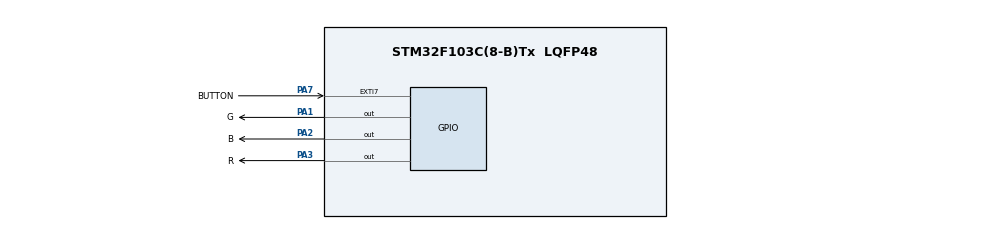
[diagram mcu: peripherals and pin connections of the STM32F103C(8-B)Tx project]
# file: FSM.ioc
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Mcu.Family=STM32F1
Mcu.Name=STM32F103C(8-B)Tx
Mcu.Package=LQFP48
NVIC.EXTI9_5_IRQn=true\:1\:0\:true\:false\:true\:true\:true
NVIC.PriorityGroup=NVIC_PRIORITYGROUP_4
PA1.GPIO_Label=G
PA1.GPIO_PuPd=GPIO_PULLDOWN
PA1.Signal=GPIO_Output
PA13.Mode=Serial_Wire
PA13.Signal=SYS_JTMS-SWDIO
PA14.Mode=Serial_Wire
PA14.Signal=SYS_JTCK-SWCLK
PA2.GPIO_Label=B
PA2.GPIO_PuPd=GPIO_PULLDOWN
PA2.Signal=GPIO_Output
PA3.GPIO_Label=R
PA3.GPIO_PuPd=GPIO_PULLDOWN
PA3.Signal=GPIO_Output
PA7.GPIO_Label=BUTTON
PA7.GPIO_ModeDefaultEXTI=GPIO_MODE_IT_FALLING
PA7.GPIO_PuPd=GPIO_PULLUP
PA7.Signal=GPXTI7
ProjectManager.HeapSize=0x200
ProjectManager.StackSize=0x400
ProjectManager.TargetToolchain=STM32CubeIDE
RCC.APB1Freq_Value=8000000
RCC.APB2Freq_Value=8000000
board=custom

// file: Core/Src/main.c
/* USER CODE BEGIN Header */
/**
  ******************************************************************************
  * @file           : main.c
  * @brief          : Main program body
  ******************************************************************************
  * @attention
  *
  * <h2><center>&copy; Copyright (c) 2023 STMicroelectronics.
  * All rights reserved.</center></h2>
  *
  * This software component is licensed by ST under BSD 3-Clause license,
  * the "License"; You may not use this file except in compliance with the
  * License. You may obtain a copy of the License at:
  *                        opensource.org/licenses/BSD-3-Clause
  *
  ******************************************************************************
  */
/* USER CODE END Header */
#include "main.h"

/* USER CODE BEGIN PTD */
#define R_ON HAL_GPIO_WritePin(R_GPIO_Port, R_Pin, 1)
#define G_ON HAL_GPIO_WritePin(G_GPIO_Port, G_Pin, 1)
#define B_ON HAL_GPIO_WritePin(B_GPIO_Port, B_Pin, 1)
#define R_OFF HAL_GPIO_WritePin(R_GPIO_Port, R_Pin, 0)
#define G_OFF HAL_GPIO_WritePin(G_GPIO_Port, G_Pin, 0)
#define B_OFF HAL_GPIO_WritePin(B_GPIO_Port, B_Pin, 0)
#define BUTTON_STATE HAL_GPIO_ReadPin(BUTTON_GPIO_Port, BUTTON_Pin)
#define DEBOUNCE_TIME 50
#define PRESS 0
#define RELEASE 1
typedef enum
{
	IDLE = 0,
	WAIT_BUTTON_UP,
	WAIT_PRESS_TIMEOUT,
	WAIT_CLICK_TIMEOUT,
	WAIT_HOLD_TIMEOUT
} my_state_t;

my_state_t state = IDLE;
/* USER CODE END PTD */

/* USER CODE BEGIN PV */
uint8_t id_state_LED = 0;
uint8_t button_interrupt = 0;
uint8_t Mode_State = 0;\
uint32_t t_timeout = 0;
uint8_t BT;
/* USER CODE END PV */

void SystemClock_Config(void);
static void MX_GPIO_Init(void);

/* USER CODE BEGIN 0 */
void state_test_ON()
{
	R_ON;
	G_ON;
	B_ON;
}

void state_test_OFF()
{
	R_OFF;
	G_OFF;
	B_OFF;
}

void state_run(uint8_t id_state)
{
	switch (id_state)
	{
		case 1:
			R_ON;
			G_OFF;
			B_OFF;
			break;

		case 2:
			G_ON;
			R_OFF;
			B_OFF;
			break;

		case 3:
			B_ON;
			R_OFF;
			G_OFF;
			break;

		default:
			R_OFF;
			G_OFF;
			B_OFF;
			break;
	}
}
/* USER CODE END 0 */

int main(void)
{

  /* MCU Configuration--------------------------------------------------------*/

  /* Reset of all peripherals, Initializes the Flash interface and the Systick. */
  HAL_Init();

  /* Configure the system clock */
  SystemClock_Config();

  /* Initialize all configured peripherals */
  MX_GPIO_Init();
  /* USER CODE BEGIN 2 */
  HAL_InitTick(TICK_INT_PRIORITY); // Reset HAL_GetTick() to 0
  /* USER CODE END 2 */

  /* Infinite loop */
  while (1)
  {
    switch (state)
    {
      case IDLE:
        if (button_interrupt == 1 && BUTTON_STATE == 0)
        {
          state = WAIT_PRESS_TIMEOUT;
          t_timeout = HAL_GetTick() + 50;
        }
        break;

      case WAIT_PRESS_TIMEOUT:
        if (BUTTON_STATE == 0 && HAL_GetTick() > t_timeout)
        {
          state = WAIT_CLICK_TIMEOUT;
          t_timeout = HAL_GetTick() + 250;
        }
        if (BUTTON_STATE == 1 && HAL_GetTick() <= t_timeout)
        {
          state = IDLE;
          button_interrupt = 0;
        }
        break;

      case WAIT_CLICK_TIMEOUT:
        if (BUTTON_STATE == 1 && HAL_GetTick() <= t_timeout)
        {
          if (id_state_LED != 0)
          {
            id_state_LED++;
            if (id_state_LED > 3) id_state_LED = 1;
          }
          state_run(id_state_LED);
          state = IDLE;
          button_interrupt = 0;
        }

        if (BUTTON_STATE == 0 && HAL_GetTick() > t_timeout)
        {
          state = WAIT_HOLD_TIMEOUT;
          t_timeout = HAL_GetTick() + 2700;
        }
        break;

      case WAIT_HOLD_TIMEOUT:
        if (BUTTON_STATE == 0 && HAL_GetTick() > t_timeout)
        {
          if (id_state_LED != 0) id_state_LED = 0;
          else id_state_LED = 1;
          state_run(id_state_LED);
          state = IDLE;
          button_interrupt = 0;
        }
        break;

      default:
          state = IDLE;
          break;
    }
  }
}

void SystemClock_Config(void)
{
  RCC_OscInitTypeDef RCC_OscInitStruct = {0};
  RCC_ClkInitTypeDef RCC_ClkInitStruct = {0};

  /** Initializes the RCC Oscillators according to the specified parameters
  * in the RCC_OscInitTypeDef structure.
  */
  RCC_OscInitStruct.OscillatorType = RCC_OSCILLATORTYPE_HSI;
  RCC_OscInitStruct.HSIState = RCC_HSI_ON;
  RCC_OscInitStruct.HSICalibrationValue = RCC_HSICALIBRATION_DEFAULT;
  RCC_OscInitStruct.PLL.PLLState = RCC_PLL_NONE;
  if (HAL_RCC_OscConfig(&RCC_OscInitStruct) != HAL_OK)
  {
    Error_Handler();
  }
  /** Initializes the CPU, AHB and APB buses clocks
  */
  RCC_ClkInitStruct.ClockType = RCC_CLOCKTYPE_HCLK|RCC_CLOCKTYPE_SYSCLK
                              |RCC_CLOCKTYPE_PCLK1|RCC_CLOCKTYPE_PCLK2;
  RCC_ClkInitStruct.SYSCLKSource = RCC_SYSCLKSOURCE_HSI;
  RCC_ClkInitStruct.AHBCLKDivider = RCC_SYSCLK_DIV1;
  RCC_ClkInitStruct.APB1CLKDivider = RCC_HCLK_DIV1;
  RCC_ClkInitStruct.APB2CLKDivider = RCC_HCLK_DIV1;

  if (HAL_RCC_ClockConfig(&RCC_ClkInitStruct, FLASH_LATENCY_0) != HAL_OK)
  {
    Error_Handler();
  }
}

static void MX_GPIO_Init(void)
{
  GPIO_InitTypeDef GPIO_InitStruct = {0};

  /* GPIO Ports Clock Enable */
  __HAL_RCC_GPIOA_CLK_ENABLE();

  /*Configure GPIO pin Output Level */
  HAL_GPIO_WritePin(GPIOA, G_Pin|B_Pin|R_Pin, GPIO_PIN_RESET);

  /*Configure GPIO pins : G_Pin B_Pin R_Pin */
  GPIO_InitStruct.Pin = G_Pin|B_Pin|R_Pin;
  GPIO_InitStruct.Mode = GPIO_MODE_OUTPUT_PP;
  GPIO_InitStruct.Pull = GPIO_PULLDOWN;
  GPIO_InitStruct.Speed = GPIO_SPEED_FREQ_LOW;
  HAL_GPIO_Init(GPIOA, &GPIO_InitStruct);

  /*Configure GPIO pin : BUTTON_Pin */
  GPIO_InitStruct.Pin = BUTTON_Pin;
  GPIO_InitStruct.Mode = GPIO_MODE_IT_FALLING;
  GPIO_InitStruct.Pull = GPIO_PULLUP;
  HAL_GPIO_Init(BUTTON_GPIO_Port, &GPIO_InitStruct);

  /* EXTI interrupt init*/
  HAL_NVIC_SetPriority(EXTI9_5_IRQn, 1, 0);
  HAL_NVIC_EnableIRQ(EXTI9_5_IRQn);

}

/* USER CODE BEGIN 4 */
void HAL_GPIO_EXTI_Callback(uint16_t GPIO_Pin)
{
	button_interrupt = 1;
}
/* USER CODE END 4 */

void Error_Handler(void)
{
  __disable_irq();
  while (1)
  {
  }
}

/************************ (C) COPYRIGHT STMicroelectronics *****END OF FILE****/
